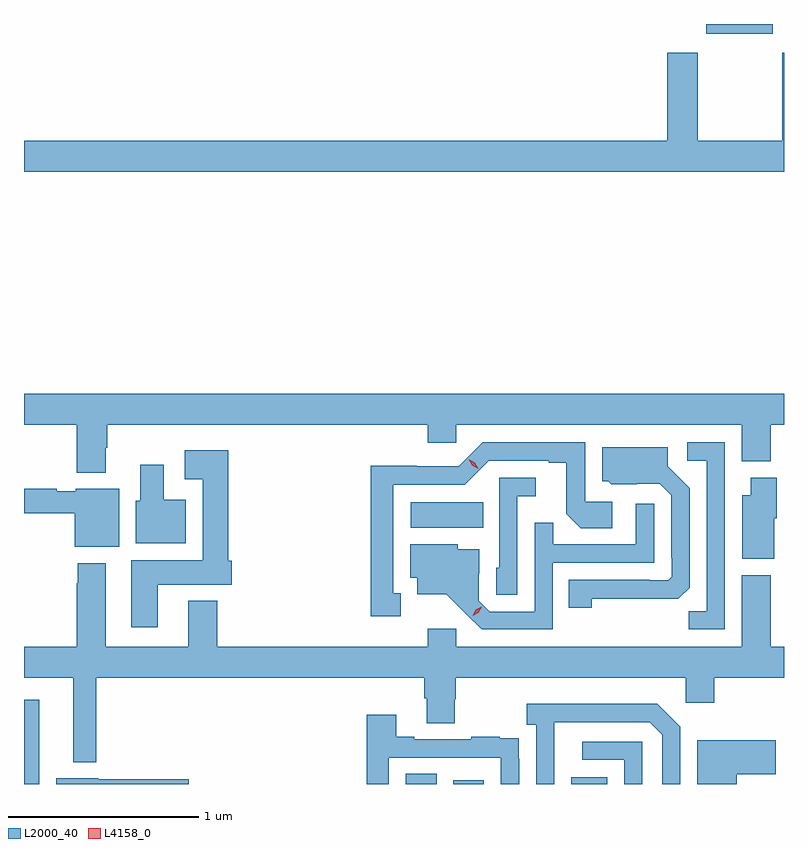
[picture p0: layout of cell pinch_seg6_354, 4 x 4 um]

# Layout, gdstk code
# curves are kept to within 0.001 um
import gdstk
lib = gdstk.Library(unit=1e-6, precision=1e-09)
def R(c, l, rs):  # rectangles x0, y0, x1, y1
    for r in rs: c.add(gdstk.rectangle(r[:2], r[2:], *l))
def P(c, l, *ps):  # polygons
    for p in ps: c.add(gdstk.Polygon(p, *l))
L2000_40 = (2000, 40)
L4158_0 = (4158, 0)

pinch_seg6_354 = lib.new_cell('pinch_seg6_354')
R(pinch_seg6_354, L2000_40, [(687.898,934.79,687.979,935.233), (689.906,934.79,690.07,934.844), (690.158,934.79,690.319,934.81), (690.779,934.79,690.967,934.825), (689.934,936.14,690.314,936.274), (691.49,938.738,691.84,938.79)])
P(pinch_seg6_354, L2000_40, [(691.898,938.638),(691.888,938.638),(691.888,938.176),(691.443,938.176),(691.443,938.638),(691.283,938.638),(691.283,938.176),(687.898,938.176),(687.898,938.012),(691.898,938.012)],
  [(688.327,936.56),(688.335,936.56),(688.335,936.68),(690.023,936.68),(690.023,936.587),(690.174,936.587),(690.174,936.68),(691.676,936.68),(691.676,936.488),(691.829,936.488),(691.829,936.68),(691.898,936.68),(691.898,936.844),(687.898,936.844),(687.898,936.68),(688.175,936.68),(688.175,936.428),(688.327,936.428)],
  [(689.881,935.793),(689.842,935.793),(689.842,936.366),(690.219,936.366),(690.345,936.492),(690.659,936.492),(690.659,936.48),(690.753,936.48),(690.753,936.212),(690.829,936.136),(690.994,936.136),(690.994,936.276),(690.852,936.276),(690.852,936.588),(690.312,936.588),(690.186,936.462),(689.964,936.462),(689.964,936.464),(689.724,936.464),(689.724,935.673),(689.881,935.673)],
  [(691.587,936.588),(691.389,936.588),(691.389,936.492),(691.491,936.492),(691.491,935.699),(691.396,935.699),(691.396,935.604),(691.587,935.604)],
  [(690.885,935.764),(691.342,935.765),(691.401,935.824),(691.401,936.346),(691.285,936.462),(691.285,936.562),(690.941,936.562),(690.941,936.384),(690.972,936.384),(690.988,936.368),(691.245,936.369),(691.305,936.309),(691.305,935.98),(691.308,935.98),(691.308,935.88),(691.29,935.862),(691.19,935.862),(691.19,935.865),(690.766,935.865),(690.766,935.718),(690.885,935.718)],
  [(688.603,935.84),(688.991,935.84),(688.991,935.964),(688.973,935.964),(688.973,936.547),(688.743,936.547),(688.743,936.395),(688.838,936.395),(688.838,935.968),(688.463,935.968),(688.463,935.616),(688.603,935.616)],
  [(688.75,936.286),(688.633,936.286),(688.633,936.469),(688.511,936.469),(688.511,936.282),(688.487,936.282),(688.487,936.056),(688.75,936.056)],
  [(691.846,936.189),(691.859,936.189),(691.859,936.403),(691.724,936.403),(691.724,936.31),(691.679,936.31),(691.679,935.975),(691.846,935.975)],
  [(690.495,936.305),(690.592,936.305),(690.592,936.402),(690.399,936.402),(690.399,935.928),(690.384,935.928),(690.384,935.785),(690.495,935.785)],
  [(688.399,936.343),(688.17,936.343),(688.17,936.33),(688.07,936.33),(688.07,936.343),(687.898,936.343),(687.898,936.214),(688.166,936.214),(688.166,936.038),(688.399,936.038)],
  [(690.681,935.955),(691.215,935.955),(691.215,936.265),(691.119,936.265),(691.119,936.051),(690.683,936.051),(690.683,936.164),(690.585,936.164),(690.585,935.697),(690.348,935.697),(690.291,935.754),(690.291,935.896),(690.295,935.896),(690.295,936.025),(690.18,936.025),(690.18,936.052),(689.93,936.052),(689.93,935.876),(689.969,935.876),(689.969,935.789),(690.121,935.789),(690.308,935.604),(690.681,935.604)],
  [(688.279,935.348),(690.005,935.348),(690.005,935.242),(690.017,935.242),(690.017,935.11),(690.165,935.11),(690.165,935.235),(690.17,935.235),(690.17,935.348),(691.38,935.348),(691.38,935.217),(691.532,935.217),(691.532,935.348),(691.898,935.348),(691.898,935.512),(691.829,935.512),(691.829,935.89),(691.676,935.89),(691.676,935.512),(690.174,935.512),(690.174,935.608),(690.023,935.608),(690.023,935.512),(688.916,935.512),(688.916,935.755),(688.763,935.755),(688.763,935.512),(688.327,935.512),(688.327,935.953),(688.18,935.953),(688.18,935.846),(688.175,935.846),(688.175,935.512),(687.898,935.512),(687.898,935.348),(688.157,935.348),(688.157,934.904),(688.279,934.904)],
  [(690.69,935.115),(691.191,935.115),(691.257,935.049),(691.257,934.79),(691.353,934.79),(691.353,935.091),(691.232,935.212),(690.543,935.212),(690.543,935.102),(690.594,935.102),(690.594,934.79),(690.69,934.79)],
  [(689.817,934.929),(690.408,934.929),(690.408,934.79),(690.504,934.79),(690.504,934.922),(690.503,934.922),(690.503,935.031),(690.401,935.031),(690.401,935.038),(690.253,935.038),(690.253,935.025),(689.953,935.025),(689.953,935.038),(689.857,935.038),(689.857,935.155),(689.701,935.155),(689.701,934.79),(689.817,934.79)],
  [(691.649,934.841),(691.855,934.841),(691.855,935.019),(691.442,935.019),(691.442,934.79),(691.649,934.79)],
  [(691.152,935.013),(690.837,935.013),(690.837,934.917),(691.056,934.917),(691.056,934.79),(691.152,934.79)],
  [(688.765,934.814),(688.29,934.814),(688.29,934.819),(688.067,934.819),(688.067,934.79),(688.765,934.79)])
P(pinch_seg6_354, L4158_0, [(690.288,936.448),(690.256,936.467),(690.238,936.5),(690.238,936.5),(690.239,936.5),(690.27,936.481),(690.288,936.448),(690.288,936.448)],
  [(690.259,935.676),(690.259,935.676),(690.276,935.706),(690.306,935.722),(690.307,935.722),(690.307,935.722),(690.29,935.692),(690.259,935.676)])

lib.write_gds('pinch_seg6_354.gds')
